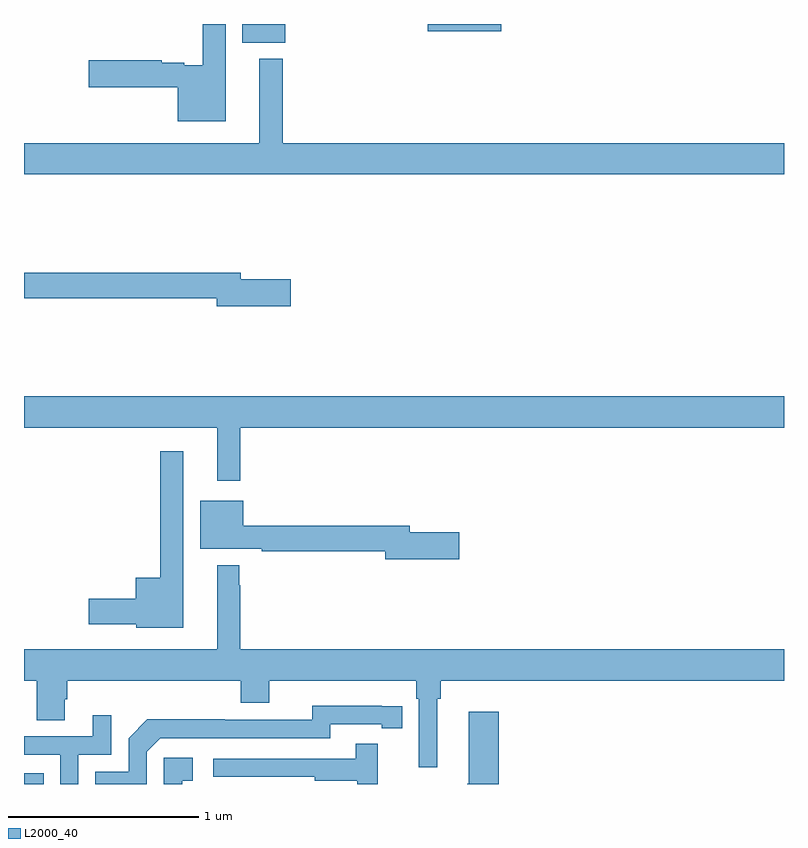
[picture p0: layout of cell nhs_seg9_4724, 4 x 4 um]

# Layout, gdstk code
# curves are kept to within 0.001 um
import gdstk
lib = gdstk.Library(unit=1e-6, precision=1e-09)
def R(c, l, rs):  # rectangles x0, y0, x1, y1
    for r in rs: c.add(gdstk.rectangle(r[:2], r[2:], *l))
def P(c, l, *ps):  # polygons
    for p in ps: c.add(gdstk.Polygon(p, *l))
L2000_40 = (2000, 40)

nhs_seg9_4724 = lib.new_cell('nhs_seg9_4724')
R(nhs_seg9_4724, L2000_40, [(383,1238.5,383.105,1238.556), (384.149,1242.401,384.376,1242.5), (385.124,1242.461,385.513,1242.5)])
P(nhs_seg9_4724, L2000_40, [(384.061,1242.5),(383.94,1242.5),(383.94,1242.283),(383.843,1242.283),(383.843,1242.296),(383.724,1242.296),(383.724,1242.308),(383.34,1242.308),(383.34,1242.166),(383.81,1242.166),(383.81,1241.987),(384.061,1241.987)],
  [(387,1241.872),(384.361,1241.872),(384.361,1242.316),(384.239,1242.316),(384.239,1241.872),(383,1241.872),(383,1241.708),(387,1241.708)],
  [(384.403,1241.156),(384.142,1241.156),(384.142,1241.192),(383,1241.192),(383,1241.056),(384.014,1241.056),(384.014,1241.014),(384.403,1241.014)],
  [(384.139,1240.376),(387,1240.376),(387,1240.54),(383,1240.54),(383,1240.376),(384.017,1240.376),(384.017,1240.095),(384.139,1240.095)],
  [(383.839,1240.252),(383.718,1240.252),(383.718,1239.586),(383.588,1239.586),(383.588,1239.476),(383.34,1239.476),(383.34,1239.341),(383.592,1239.341),(383.592,1239.323),(383.839,1239.323)],
  [(385.291,1239.824),(385.03,1239.824),(385.03,1239.86),(384.154,1239.86),(384.154,1239.991),(383.927,1239.991),(383.927,1239.737),(384.25,1239.737),(384.25,1239.724),(384.902,1239.724),(384.902,1239.682),(385.291,1239.682)],
  [(385.174,1238.948),(385.193,1238.948),(385.193,1239.044),(387,1239.044),(387,1239.208),(384.139,1239.208),(384.139,1239.545),(384.132,1239.545),(384.132,1239.652),(384.017,1239.652),(384.017,1239.208),(383,1239.208),(383,1239.044),(383.068,1239.044),(383.068,1238.836),(383.215,1238.836),(383.215,1238.946),(383.228,1238.946),(383.228,1239.044),(384.14,1239.044),(384.14,1238.927),(384.292,1238.927),(384.292,1239.044),(385.064,1239.044),(385.064,1238.948),(385.077,1238.948),(385.077,1238.589),(385.174,1238.589)],
  [(383.646,1238.67),(383.718,1238.742),(384.612,1238.742),(384.612,1238.814),(384.884,1238.814),(384.884,1238.794),(384.992,1238.794),(384.992,1238.91),(384.516,1238.911),(384.516,1238.838),(384.056,1238.838),(384.056,1238.84),(383.648,1238.84),(383.55,1238.742),(383.55,1238.565),(383.376,1238.565),(383.376,1238.5),(383.646,1238.5)],
  [(385.499,1238.881),(385.34,1238.881),(385.34,1238.501),(385.333,1238.501),(385.333,1238.5),(385.499,1238.5)],
  [(383.286,1238.655),(383.46,1238.655),(383.46,1238.863),(383.363,1238.863),(383.363,1238.751),(383,1238.751),(383,1238.655),(383.19,1238.655),(383.19,1238.5),(383.286,1238.5)],
  [(384.863,1238.713),(384.745,1238.713),(384.745,1238.634),(383.997,1238.634),(383.997,1238.538),(384.529,1238.538),(384.529,1238.518),(384.753,1238.518),(384.753,1238.5),(384.863,1238.5)],
  [(383.834,1238.517),(383.887,1238.517),(383.887,1238.638),(383.736,1238.638),(383.736,1238.5),(383.834,1238.5)])

lib.write_gds('nhs_seg9_4724.gds')
